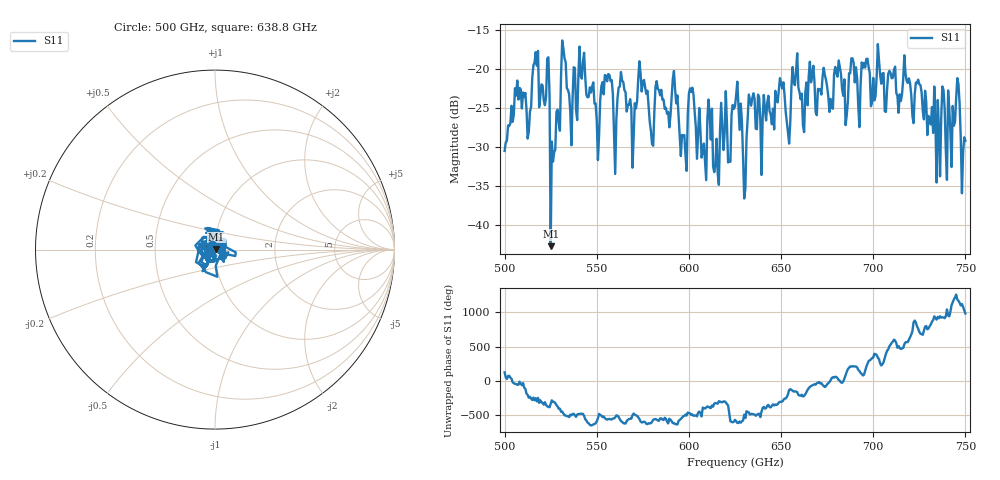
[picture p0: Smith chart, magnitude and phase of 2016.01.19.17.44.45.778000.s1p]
!Created with skrf (http://scikit-rf.org).
# GHz S RI R 50.0
!freq ReS11 ImS11
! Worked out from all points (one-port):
!   401 points, 500 GHz to 750 GHz, reference 50 ohm
!   lowest |S11| = -42.7 dB at 525 GHz (marker M1), VSWR 1.01, Z = 50.6 + j0.371 ohm
!   |S11| at or under -10 dB: start of sweep to end of sweep
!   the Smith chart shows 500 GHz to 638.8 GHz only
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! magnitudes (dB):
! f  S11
! 500 GHz  -30.5
! 506.9 GHz  -21.5
! 513.1 GHz  -28.0
! 516.9 GHz  -17.9
! 523.1 GHz  -18.7
! 525 GHz  -42.7
! 526.2 GHz  -31.9
! 531.2 GHz  -16.4
! 535.6 GHz  -25.4
! 541.9 GHz  -21.2
! 550 GHz  -26.6
! 562.5 GHz  -22.3
! 593.8 GHz  -23.4
! 597.5 GHz  -28.5
! 601.2 GHz  -22.9
! 608.1 GHz  -29.5
! 611.2 GHz  -25.9
! 615 GHz  -28.9
! 625 GHz  -24.8
! 630 GHz  -36.6
! 633.8 GHz  -24.7
! 650.6 GHz  -22.5
! 653.8 GHz  -28.1
! 656.2 GHz  -19.8
! 687.5 GHz  -20.6
! 718.8 GHz  -21.8
! 745.6 GHz  -21.2
! 750 GHz  -29.2
